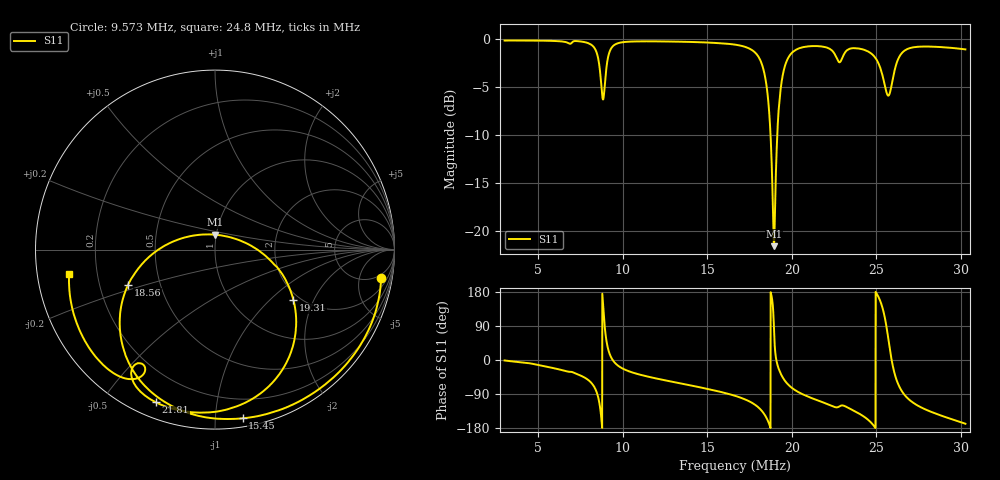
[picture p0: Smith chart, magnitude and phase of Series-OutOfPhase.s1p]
# HZ S RI R 50
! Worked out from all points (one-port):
!   2727 points, 3 MHz to 30.27 MHz, reference 50 ohm
!   lowest |S11| = -21.6 dB at 18.94 MHz (marker M1), VSWR 1.18, Z = 49.3 + j8.25 ohm
!   |S11| at or under -10 dB: 18.74 MHz to 19.14 MHz (400.1 kHz wide, 2.11 % of centre)
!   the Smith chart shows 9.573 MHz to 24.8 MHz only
!   S11 on the Smith chart (normalised r, x): 9.573 MHz: 4, -10; 15.45 MHz: 0.06, -1.18; 18.56 MHz: 0.32, -0.17; 19.31 MHz: 1.85, -1.42; 21.81 MHz: 0.07, -0.68; 24.8 MHz: 0.10, -0.08
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3000000  0.9803 -0.021
6411364  0.8649 -0.4376
7741896  0.6612 -0.6983
8372148  0.2026 -0.8563
8572228  -0.1983 -0.735
8732292  -0.5173 -0.2141
8992396  0.3207 0.5827
9212484  0.8214 0.2435
9572628  0.9257 -0.1557
9822728  0.9064 -0.3012
1.323409e7  0.4808 -0.8394
1.545498e7  0.1537 -0.9401
1.663545e7  -0.0724 -0.9306
1.784594e7  -0.4081 -0.7405
1.855622e7  -0.4838 -0.1954
1.893637e7  -5.6e-05 0.0831
1.930652e7  0.4368 -0.2799
2.004682e7  0.2192 -0.8247
2.180752e7  -0.3303 -0.8503
2.345818e7  -0.5602 -0.6915
2.479872e7  -0.813 -0.1346
2.520888e7  -0.6642 0.2664
2.552901e7  -0.1519 0.5366
2.594918e7  0.5934 -0.1069
2.632933e7  0.3082 -0.7353
2.686954e7  -0.1792 -0.8699
2.817006e7  -0.6502 -0.6393
3.02709e7  -0.8629 -0.1802
